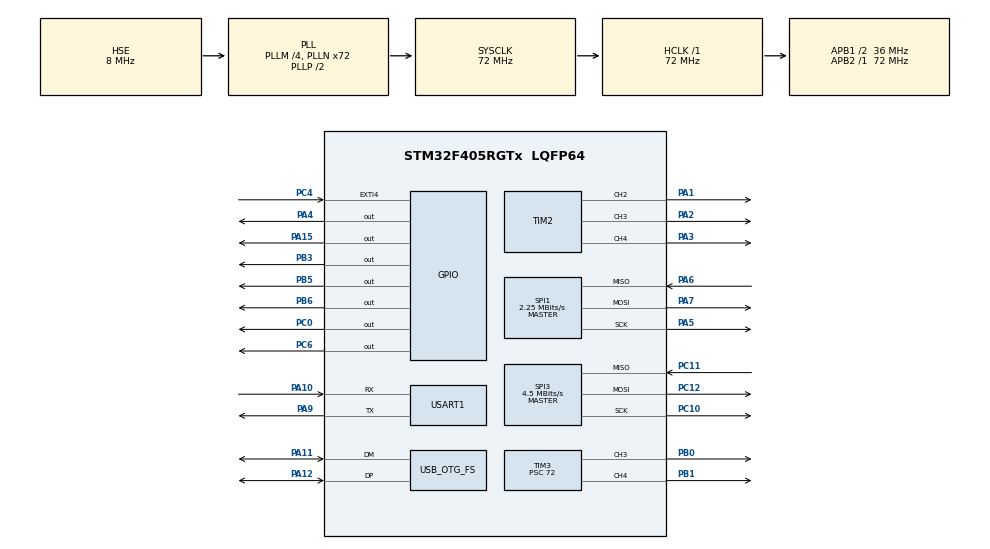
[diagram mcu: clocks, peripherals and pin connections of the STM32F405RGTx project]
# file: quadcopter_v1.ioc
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Dma.Request0=USART1_RX
Dma.Request1=USART1_TX
Dma.Request2=SPI1_RX
Dma.Request3=SPI1_TX
Dma.Request4=SPI3_RX
Dma.Request5=SPI3_TX
Dma.SPI1_RX.2.Direction=DMA_PERIPH_TO_MEMORY
Dma.SPI1_RX.2.FIFOMode=DMA_FIFOMODE_DISABLE
Dma.SPI1_RX.2.Instance=DMA2_Stream0
Dma.SPI1_RX.2.MemDataAlignment=DMA_MDATAALIGN_BYTE
Dma.SPI1_RX.2.MemInc=DMA_MINC_ENABLE
Dma.SPI1_RX.2.Mode=DMA_NORMAL
Dma.SPI1_RX.2.PeriphDataAlignment=DMA_PDATAALIGN_BYTE
Dma.SPI1_RX.2.PeriphInc=DMA_PINC_DISABLE
Dma.SPI1_RX.2.Priority=DMA_PRIORITY_LOW
Dma.SPI1_TX.3.Direction=DMA_MEMORY_TO_PERIPH
Dma.SPI1_TX.3.FIFOMode=DMA_FIFOMODE_DISABLE
Dma.SPI1_TX.3.Instance=DMA2_Stream3
Dma.SPI1_TX.3.MemDataAlignment=DMA_MDATAALIGN_BYTE
Dma.SPI1_TX.3.MemInc=DMA_MINC_ENABLE
Dma.SPI1_TX.3.Mode=DMA_NORMAL
Dma.SPI1_TX.3.PeriphDataAlignment=DMA_PDATAALIGN_BYTE
Dma.SPI1_TX.3.PeriphInc=DMA_PINC_DISABLE
Dma.SPI1_TX.3.Priority=DMA_PRIORITY_LOW
Dma.SPI3_RX.4.Direction=DMA_PERIPH_TO_MEMORY
Dma.SPI3_RX.4.FIFOMode=DMA_FIFOMODE_DISABLE
Dma.SPI3_RX.4.Instance=DMA1_Stream0
Dma.SPI3_RX.4.MemDataAlignment=DMA_MDATAALIGN_BYTE
Dma.SPI3_RX.4.MemInc=DMA_MINC_ENABLE
Dma.SPI3_RX.4.Mode=DMA_NORMAL
Dma.SPI3_RX.4.PeriphDataAlignment=DMA_PDATAALIGN_BYTE
Dma.SPI3_RX.4.PeriphInc=DMA_PINC_DISABLE
Dma.SPI3_RX.4.Priority=DMA_PRIORITY_LOW
Dma.SPI3_TX.5.Direction=DMA_MEMORY_TO_PERIPH
Dma.SPI3_TX.5.FIFOMode=DMA_FIFOMODE_DISABLE
Dma.SPI3_TX.5.Instance=DMA1_Stream5
Dma.SPI3_TX.5.MemDataAlignment=DMA_MDATAALIGN_BYTE
Dma.SPI3_TX.5.MemInc=DMA_MINC_ENABLE
Dma.SPI3_TX.5.Mode=DMA_NORMAL
Dma.SPI3_TX.5.PeriphDataAlignment=DMA_PDATAALIGN_BYTE
Dma.SPI3_TX.5.PeriphInc=DMA_PINC_DISABLE
Dma.SPI3_TX.5.Priority=DMA_PRIORITY_LOW
Dma.USART1_RX.0.Direction=DMA_PERIPH_TO_MEMORY
Dma.USART1_RX.0.FIFOMode=DMA_FIFOMODE_DISABLE
Dma.USART1_RX.0.Instance=DMA2_Stream2
Dma.USART1_RX.0.MemDataAlignment=DMA_MDATAALIGN_BYTE
Dma.USART1_RX.0.MemInc=DMA_MINC_ENABLE
Dma.USART1_RX.0.Mode=DMA_NORMAL
Dma.USART1_RX.0.PeriphDataAlignment=DMA_PDATAALIGN_BYTE
Dma.USART1_RX.0.PeriphInc=DMA_PINC_DISABLE
Dma.USART1_RX.0.Priority=DMA_PRIORITY_LOW
Dma.USART1_TX.1.Direction=DMA_MEMORY_TO_PERIPH
Dma.USART1_TX.1.FIFOMode=DMA_FIFOMODE_DISABLE
Dma.USART1_TX.1.Instance=DMA2_Stream7
Dma.USART1_TX.1.MemDataAlignment=DMA_MDATAALIGN_BYTE
Dma.USART1_TX.1.MemInc=DMA_MINC_ENABLE
Dma.USART1_TX.1.Mode=DMA_NORMAL
Dma.USART1_TX.1.PeriphDataAlignment=DMA_PDATAALIGN_BYTE
Dma.USART1_TX.1.PeriphInc=DMA_PINC_DISABLE
Dma.USART1_TX.1.Priority=DMA_PRIORITY_LOW
IWDG.Prescaler=IWDG_PRESCALER_64
IWDG.Reload=249
Mcu.Family=STM32F4
Mcu.Name=STM32F405RGTx
Mcu.Package=LQFP64
NVIC.DMA1_Stream0_IRQn=true\:0\:0\:false\:false\:true\:false\:true\:true
NVIC.DMA1_Stream5_IRQn=true\:0\:0\:false\:false\:true\:false\:true\:true
NVIC.DMA2_Stream0_IRQn=true\:0\:0\:false\:false\:true\:false\:true\:true
NVIC.DMA2_Stream2_IRQn=true\:0\:0\:false\:false\:true\:false\:true\:true
NVIC.DMA2_Stream3_IRQn=true\:0\:0\:false\:false\:true\:false\:true\:true
NVIC.DMA2_Stream7_IRQn=true\:0\:0\:false\:false\:true\:false\:true\:true
NVIC.EXTI4_IRQn=true\:0\:0\:false\:false\:true\:true\:true\:true
NVIC.OTG_FS_IRQn=true\:0\:0\:false\:false\:true\:false\:true\:true
NVIC.PriorityGroup=NVIC_PRIORITYGROUP_4
NVIC.SPI1_IRQn=true\:0\:0\:false\:false\:true\:true\:true\:true
NVIC.SPI3_IRQn=true\:0\:0\:false\:false\:true\:true\:true\:true
NVIC.TIM1_CC_IRQn=true\:0\:0\:false\:false\:true\:true\:true\:true
NVIC.USART1_IRQn=true\:0\:0\:false\:false\:true\:true\:true\:true
PA1.Signal=S_TIM2_CH2
PA10.Mode=Asynchronous
PA10.Signal=USART1_RX
PA11.Mode=Device_Only
PA11.Signal=USB_OTG_FS_DM
PA12.Mode=Device_Only
PA12.Signal=USB_OTG_FS_DP
PA15.PinState=GPIO_PIN_SET
PA15.Signal=GPIO_Output
PA2.Signal=S_TIM2_CH3
PA3.Signal=S_TIM2_CH4
PA4.PinState=GPIO_PIN_SET
PA4.Signal=GPIO_Output
PA5.Mode=Full_Duplex_Master
PA5.Signal=SPI1_SCK
PA6.Mode=Full_Duplex_Master
PA6.Signal=SPI1_MISO
PA7.Mode=Full_Duplex_Master
PA7.Signal=SPI1_MOSI
PA8.Signal=S_TIM1_CH1
PA9.Mode=Asynchronous
PA9.Signal=USART1_TX
PB0.Signal=S_TIM3_CH3
PB1.Signal=S_TIM3_CH4
PB3.PinState=GPIO_PIN_SET
PB3.Signal=GPIO_Output
PB5.Signal=GPIO_Output
PB6.PinState=GPIO_PIN_SET
PB6.Signal=GPIO_Output
PC0.Signal=GPIO_Output
PC10.Mode=Full_Duplex_Master
PC10.Signal=SPI3_SCK
PC11.Mode=Full_Duplex_Master
PC11.Signal=SPI3_MISO
PC12.Mode=Full_Duplex_Master
PC12.Signal=SPI3_MOSI
PC4.Signal=GPXTI4
PC6.GPIO_Speed=GPIO_SPEED_FREQ_HIGH
PC6.Signal=GPIO_Output
PH0-OSC_IN.Mode=HSE-External-Oscillator
PH0-OSC_IN.Signal=RCC_OSC_IN
PH1-OSC_OUT.Mode=HSE-External-Oscillator
PH1-OSC_OUT.Signal=RCC_OSC_OUT
ProjectManager.HeapSize=0x200
ProjectManager.StackSize=0x400
ProjectManager.TargetToolchain=STM32CubeIDE
RCC.48MHZClocksFreq_Value=48000000
RCC.AHBFreq_Value=72000000
RCC.APB1CLKDivider=RCC_HCLK_DIV2
RCC.APB1Freq_Value=36000000
RCC.APB1TimFreq_Value=72000000
RCC.APB2Freq_Value=72000000
RCC.APB2TimFreq_Value=72000000
RCC.CortexFreq_Value=72000000
RCC.HCLKFreq_Value=72000000
RCC.HSE_VALUE=8000000
RCC.HSI_VALUE=16000000
RCC.LSE_VALUE=32768
RCC.PLLM=4
RCC.PLLN=72
RCC.PLLQ=3
RCC.SYSCLKFreq_VALUE=72000000
RCC.SYSCLKSource=RCC_SYSCLKSOURCE_PLLCLK
RCC.VCOOutputFreq_Value=144000000
SH.S_TIM1_CH1.0=TIM1_CH1
SH.S_TIM2_CH2.0=TIM2_CH2,PWM Generation2 CH2
SH.S_TIM2_CH3.0=TIM2_CH3,PWM Generation3 CH3
SH.S_TIM2_CH4.0=TIM2_CH4,PWM Generation4 CH4
SH.S_TIM3_CH3.0=TIM3_CH3,PWM Generation3 CH3
SH.S_TIM3_CH4.0=TIM3_CH4,PWM Generation4 CH4
SPI1.BaudRatePrescaler=SPI_BAUDRATEPRESCALER_32
SPI1.CLKPolarity=SPI_POLARITY_LOW
SPI1.CalculateBaudRate=2.25 MBits/s
SPI1.Direction=SPI_DIRECTION_2LINES
SPI1.Mode=SPI_MODE_MASTER
SPI1.VirtualType=VM_MASTER
SPI3.BaudRatePrescaler=SPI_BAUDRATEPRESCALER_8
SPI3.CalculateBaudRate=4.5 MBits/s
SPI3.Direction=SPI_DIRECTION_2LINES
SPI3.Mode=SPI_MODE_MASTER
SPI3.VirtualType=VM_MASTER
TIM1.Channel-Output\ Compare1\ No\ Output=TIM_CHANNEL_1
TIM1.Period=53999
TIM1.Prescaler=3
TIM2.Channel-PWM\ Generation2\ CH2=TIM_CHANNEL_2
TIM2.Channel-PWM\ Generation3\ CH3=TIM_CHANNEL_3
TIM2.Channel-PWM\ Generation4\ CH4=TIM_CHANNEL_4
TIM3.Channel-PWM\ Generation3\ CH3=TIM_CHANNEL_3
TIM3.Channel-PWM\ Generation4\ CH4=TIM_CHANNEL_4
TIM3.Period=65535
TIM3.Prescaler=72
USART1.Parity=PARITY_NONE
USART1.VirtualMode=VM_ASYNC
USART1.WordLength=WORDLENGTH_8B
USB_DEVICE.CLASS_NAME_FS=CDC
USB_DEVICE.VirtualMode-CDC_FS=Cdc
USB_DEVICE.VirtualModeFS=Cdc_FS
USB_OTG_FS.VirtualMode=Device_Only
VP_IWDG_VS_IWDG.Mode=IWDG_Activate
VP_TIM1_VS_ClockSourceINT.Mode=Internal
VP_TIM1_VS_no_output1.Mode=Output Compare1 No Output
VP_TIM2_VS_ClockSourceINT.Mode=Internal
VP_TIM3_VS_ClockSourceINT.Mode=Internal
VP_USB_DEVICE_VS_USB_DEVICE_CDC_FS.Mode=CDC_FS
board=custom

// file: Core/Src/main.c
/* USER CODE BEGIN Header */
/**
  ******************************************************************************
  * @file           : main.c
  * @brief          : Main program body
  ******************************************************************************
  * @attention
  *
  * Copyright (c) 2024 STMicroelectronics.
  * All rights reserved.
  *
  * This software is licensed under terms that can be found in the LICENSE file
  * in the root directory of this software component.
  * If no LICENSE file comes with this software, it is provided AS-IS.
  *
  ******************************************************************************
  */
/* USER CODE END Header */
#include "main.h"
#include "dma.h"
#include "iwdg.h"
#include "spi.h"
#include "tim.h"
#include "usart.h"
#include "usb_device.h"
#include "gpio.h"

/* USER CODE BEGIN Includes */
#include "init.h"
#include "usbd_cdc_if.h"
#include "log.h"
#include "receiver.h"
#include "motor.h"
#include "pwm.h"
#include "gyro_acc.h"
#include "mpu_6000.h"
#include "barometer.h"
#include "bmp280.h"
#include "imu.h"
#include "pid.h"
#include "control.h"
#include "state_machine.h"
/* USER CODE END Includes */

void SystemClock_Config(void);

/* USER CODE BEGIN 0 */
//INIT TASK Management
volatile uint32_t __FLAGS = 0;

/* PID controllers for attitude stabilization */
pid_t rollPID;
pid_t pitchPID;
pid_t yawPID;

/* USER CODE END 0 */

int main(void)
{

  /* MCU Configuration--------------------------------------------------------*/

  /* Reset of all peripherals, Initializes the Flash interface and the Systick. */
  HAL_Init();

  /* Configure the system clock */
  SystemClock_Config();

  /* Initialize all configured peripherals */
  MX_GPIO_Init();
  MX_DMA_Init();
  MX_USART1_UART_Init();
  MX_USB_DEVICE_Init();
  MX_TIM1_Init();
  MX_TIM2_Init();
  MX_TIM3_Init();
  MX_SPI1_Init();
  MX_SPI3_Init();

  /* USER CODE BEGIN 2 */

  //RC Init
  RCData_t* rcData;
  imuAngles_t imuAnglesFiltered = {0};
  //Gyro Accelerometer Device
  gyroAccDev_t gyroAccDev;
  gyroAccData_t rawScaledGyroAcc;
  gyroAccDev.gyroHardware = GYRO_ACC_MPU6500;
  //Set sensor type
  gyroAccOps_t mpu6000Ops = {
      .Init = Mpu6000Init,
      .ReadRawGyroAccData = Mpu6000ReadRawGyroAccData,
	  .ReadGyroAcc = Mpu6000ReadGyroAcc,
	  .CalibrateGyroAcc = Mpu6000CalibrateGyroAcc
  };
  //Set sensor protocol
  devInterface_t mpu6000DevInterface;
  sensorInterface_t mpu6000SensorInterface = {
  	.InitProtocol = SPIInitProtocol,
  	.ReadRegister = SPIReadRegister,
  	.WriteRegister = SPIWriteRegister,
	.BusBusy = SPIBusy,
	.devInterface = &mpu6000DevInterface
  };
  //Initialize the sensor
  gyroAccDev.ops = mpu6000Ops;
  gyroAccDev.interface = mpu6000SensorInterface;

//  gyroAccDev.rawData.gyro[X] = 0; gyroAccDev.rawData.gyro[Y] = 0; gyroAccDev.rawData.gyro[Z] = 0;
//  gyroAccDev.rawData.acc[X] = 0; gyroAccDev.rawData.acc[Y] = 0; gyroAccDev.rawData.acc[Z] = 0;

  baroDev_t baroDev;
  baroDev.gyroHardware = BARO_BMP280;
  //Set sensor type
  baroOps_t bmp280Ops = {
      .Init = Bmp280Init,
      .ReadAltitude= Bmp280ReadAltitude
  };
  //Set sensor protocol
  devInterface_t bmp280DevInterface;
  sensorInterface_t bmp280SensorInterface = {
  	.InitProtocol = SPIInitProtocol,
  	.ReadRegister = SPIReadRegister,
  	.WriteRegister = SPIWriteRegister,
	.BusBusy = SPIBusy,
	.devInterface = &bmp280DevInterface
  };
  //Initialize the sensor
  baroDev.ops = bmp280Ops;
  baroDev.interface = bmp280SensorInterface;

  //Motor initialization
  motorDevice_t *motorDevice_FR;
  motorDevice_t *motorDevice_FL;
  motorDevice_t *motorDevice_RL;
  motorDevice_t *motorDevice_RR;

  LogMessage(LOG_LEVEL_INFO, "MOTOR INITIALIZATION \r\n");
  motorDevice_FR = InitMotor(&htim3, TIM_CHANNEL_4);
  motorDevice_FL = InitMotor(&htim2, TIM_CHANNEL_3);
  motorDevice_RR = InitMotor(&htim3, TIM_CHANNEL_3);
  motorDevice_RL = InitMotor(&htim2, TIM_CHANNEL_4);
  motorDevice_t *motors[4] = {motorDevice_FR, motorDevice_FL, motorDevice_RL, motorDevice_RR};
  armState_e armState = DISARMED;
  smCtx_t smCtx = {0};

  LogEnable();
  LogMessage(LOG_LEVEL_INFO, "LOG ENABLED\r\n");
  LogMessage(LOG_LEVEL_INFO, "SYSTEM INITIALIZATION START\r\n");

  LogMessage(LOG_LEVEL_INFO, "RC INITIALIZATION \r\n");
  rcData = RCInit(IBUS);

  LogMessage(LOG_LEVEL_INFO, "GYRO ACCELEROMETER INITIALIZATION \r\n");
  gyroAccDev.ops.Init(&gyroAccDev);

  LogMessage(LOG_LEVEL_INFO, "PID CONTROLLER INITIALIZATION \r\n");
  PidInit(&rollPID,  1.5f, 0.05f, 0.4f, -500.0f, 500.0f);  // Tune these gains
  PidInit(&pitchPID, 1.5f, 0.05f, 0.4f, -500.0f, 500.0f);
  PidInit(&yawPID,   1.0f, 0.01f, 0.2f, -500.0f, 500.0f);

  LogMessage(LOG_LEVEL_INFO, "IMU SAMPLE TIMER INTERRUPT INITIALIZATION \r\n");
   HAL_TIM_OC_Start_IT(&htim1, TIM_CHANNEL_1); // Initialize timer1 ch1 interrupt for IMU filter fixed sampling rate

  LogMessage(LOG_LEVEL_INFO, "BAROMETER INITIALIZATION \r\n");
  //baroDev.ops.Init(&baroDev);
  //TODO: Work on barometer code
  //TODO: Compass code
  LogMessage(LOG_LEVEL_INFO, "ARM STATE INITIALIZATION \r\n");
  smCtx.rcData    = rcData;
  smCtx.motors[0] = motorDevice_FR;
  smCtx.motors[1] = motorDevice_FL;
  smCtx.motors[2] = motorDevice_RL;
  smCtx.motors[3] = motorDevice_RR;
  smCtx.angles    = &imuAnglesFiltered;
  smCtx.rollPID   = &rollPID;
  smCtx.pitchPID  = &pitchPID;
  smCtx.yawPID    = &yawPID;

  LogMessage(LOG_LEVEL_INFO, "SYSTEM INITIALIZATION END\r\n");

  MX_IWDG_Init(); //Init watch dog after system initialization
  /* USER CODE END 2 */

  /* Infinite loop */
  while (1)
  {

    /* USER CODE BEGIN 3 */

	  rawScaledGyroAcc = gyroAccDev.ops.ReadGyroAcc(&gyroAccDev);

	  if(__FLAGS & FLAG_TIMER_IMU) {
		  imuAnglesFiltered = IMUCalculateAngles(rawScaledGyroAcc, MADGWICK);
		  __FLAGS &= ~FLAG_TIMER_IMU;
		  HAL_GPIO_TogglePin(DEBUG_PORT, DEBUG_PIN);
	  }

	  LogMessage(LOG_LEVEL_DEBUG, "PITCH:%.2f ROLL:%.2f YAW:%.2f\r\n",
					imuAnglesFiltered.rpyDeg[PITCH], imuAnglesFiltered.rpyDeg[ROLL], imuAnglesFiltered.rpyDeg[YAW]);

	  //baroDev.ops.ReadAltitude(&baroDev);

	  RCRead(rcData);

    LogMessage(LOG_LEVEL_DEBUG, "RC Input: THROTTLE=%d ROLL=%d PITCH=%d YAW=%d AUX1=%d AUX2=%d\r\n",
               rcData->rcInput[RC_THROTTLE],
               rcData->rcInput[RC_ROLL],
               rcData->rcInput[RC_PITCH],
               rcData->rcInput[RC_YAW],
               rcData->rcInput[RC_AUX1],
               rcData->rcInput[RC_AUX2]);

	  /* Arm state machine */
	  switch (armState) {
		  case DISARMED:       armState = HandleDisarmed(&smCtx);      break;
		  case ARMED:          armState = HandleArmed(&smCtx);         break;
		  case CALIBRATING:    armState = HandleCalibrating(&smCtx);   break;
		  case FAILSAFE:       armState = HandleFailsafe(&smCtx);      break;
		  case CRASH_DETECTED: armState = HandleCrashDetected(&smCtx); break;
		  default:             armState = DISARMED;                    break;
	  }

     HAL_IWDG_Refresh(&hiwdg);
  }
  /* USER CODE END 3 */
}

void SystemClock_Config(void)
{
  RCC_OscInitTypeDef RCC_OscInitStruct = {0};
  RCC_ClkInitTypeDef RCC_ClkInitStruct = {0};

  /** Configure the main internal regulator output voltage
  */
  __HAL_RCC_PWR_CLK_ENABLE();
  __HAL_PWR_VOLTAGESCALING_CONFIG(PWR_REGULATOR_VOLTAGE_SCALE1);

  /** Initializes the RCC Oscillators according to the specified parameters
  * in the RCC_OscInitTypeDef structure.
  */
  RCC_OscInitStruct.OscillatorType = RCC_OSCILLATORTYPE_LSI|RCC_OSCILLATORTYPE_HSE;
  RCC_OscInitStruct.HSEState = RCC_HSE_ON;
  RCC_OscInitStruct.LSIState = RCC_LSI_ON;
  RCC_OscInitStruct.PLL.PLLState = RCC_PLL_ON;
  RCC_OscInitStruct.PLL.PLLSource = RCC_PLLSOURCE_HSE;
  RCC_OscInitStruct.PLL.PLLM = 4;
  RCC_OscInitStruct.PLL.PLLN = 72;
  RCC_OscInitStruct.PLL.PLLP = RCC_PLLP_DIV2;
  RCC_OscInitStruct.PLL.PLLQ = 3;
  if (HAL_RCC_OscConfig(&RCC_OscInitStruct) != HAL_OK)
  {
    Error_Handler();
  }

  /** Initializes the CPU, AHB and APB buses clocks
  */
  RCC_ClkInitStruct.ClockType = RCC_CLOCKTYPE_HCLK|RCC_CLOCKTYPE_SYSCLK
                              |RCC_CLOCKTYPE_PCLK1|RCC_CLOCKTYPE_PCLK2;
  RCC_ClkInitStruct.SYSCLKSource = RCC_SYSCLKSOURCE_PLLCLK;
  RCC_ClkInitStruct.AHBCLKDivider = RCC_SYSCLK_DIV1;
  RCC_ClkInitStruct.APB1CLKDivider = RCC_HCLK_DIV2;
  RCC_ClkInitStruct.APB2CLKDivider = RCC_HCLK_DIV1;

  if (HAL_RCC_ClockConfig(&RCC_ClkInitStruct, FLASH_LATENCY_2) != HAL_OK)
  {
    Error_Handler();
  }
}

void Error_Handler(void)
{
  __disable_irq();
  while (1)
  {
  }
}
